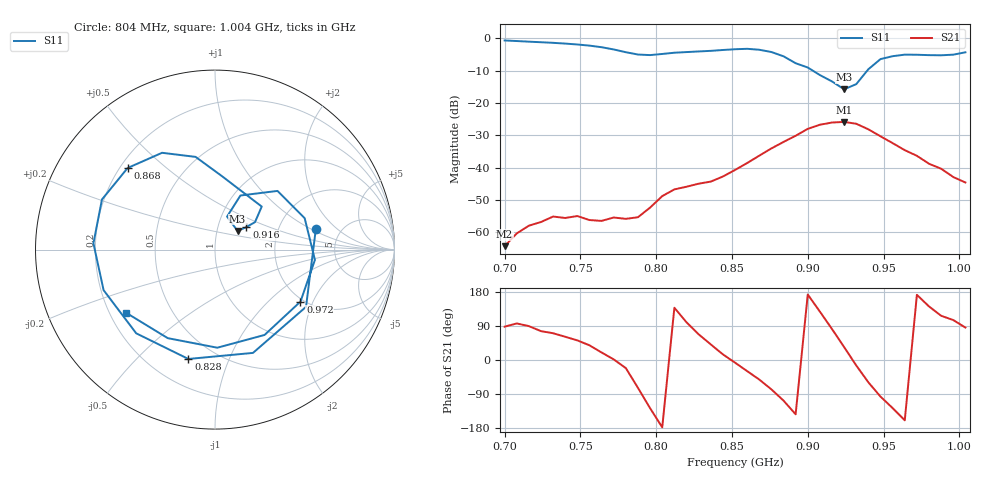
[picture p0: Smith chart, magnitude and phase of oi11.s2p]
# Hz S RI R 50
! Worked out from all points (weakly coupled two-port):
!   39 points, 700 MHz to 1.004 GHz, reference 50 ohm
!   highest |S21| = -25.85 dB at 924 MHz (marker M1); lowest = -64.3 dB at 700 MHz (marker M2)
!   lowest |S11| = -15.8 dB at 924 MHz (marker M3), VSWR 1.39, Z = 62.8 + j13.3 ohm
!   |S11| at or under -10 dB: 903.4 MHz to 939.2 MHz (35.86 MHz wide, 3.89 % of centre)
!   S12 and S22 are empty: the file has one direction only
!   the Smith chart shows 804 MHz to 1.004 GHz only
!   S11 on the Smith chart (normalised r, x): 804 MHz: 3.27, +1.12; 828 MHz: 0.36, -0.72; 868 MHz: 0.23, +0.38; 916 MHz: 1.37, +0.36; 972 MHz: 1.92, -1.62; 1.004 GHz: 0.27, -0.30
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7e8  0.7641 0.5257  2.22e-05 0.00061  0 0  0 0
7.24e8  0.8312 -0.2593  0.000345 0.0014  0 0  0 0
7.4e8  0.4434 -0.7011  0.000801 0.00146  0 0  0 0
7.56e8  -0.1977 -0.7458  0.00121 0.000968  0 0  0 0
7.72e8  -0.6492 -0.1771  0.00169 4.5e-05  0 0  0 0
7.8e8  -0.5627 0.2361  0.0015 -0.000592  0 0  0 0
7.88e8  -0.2042 0.5233  0.000481 -0.00164  0 0  0 0
7.96e8  0.2708 0.4796  -0.00146 -0.00192  0 0  0 0
8.04e8  0.5618 0.1148  -0.00363 -0.000146  0 0  0 0
8.2e8  0.2116 -0.5756  -0.000839 0.005  0 0  0 0
8.28e8  -0.1484 -0.6093  0.00214 0.00523  0 0  0 0
8.52e8  -0.6773 0.0349  0.00914 -0.00111  0 0  0 0
8.68e8  -0.4868 0.4546  0.00952 -0.012  0 0  0 0
8.84e8  -0.108 0.5165  -0.00735 -0.0239  0 0  0 0
9.08e8  0.223 0.1532  -0.0282 0.0365  0 0  0 0
9.16e8  0.175 0.1257  0.00717 0.0493  0 0  0 0
9.24e8  0.126 0.1033  0.0423 0.0286  0 0  0 0
9.4e8  0.1418 0.3014  0.0202 -0.0336  0 0  0 0
9.56e8  0.4997 0.1748  -0.0144 -0.0192  0 0  0 0
9.72e8  0.4761 -0.2897  -0.0151 0.00214  0 0  0 0
9.88e8  0.0128 -0.5466  -0.00432 0.0086  0 0  0 0
1.004e9  -0.4974 -0.3507  0.000451 0.00588  0 0  0 0
